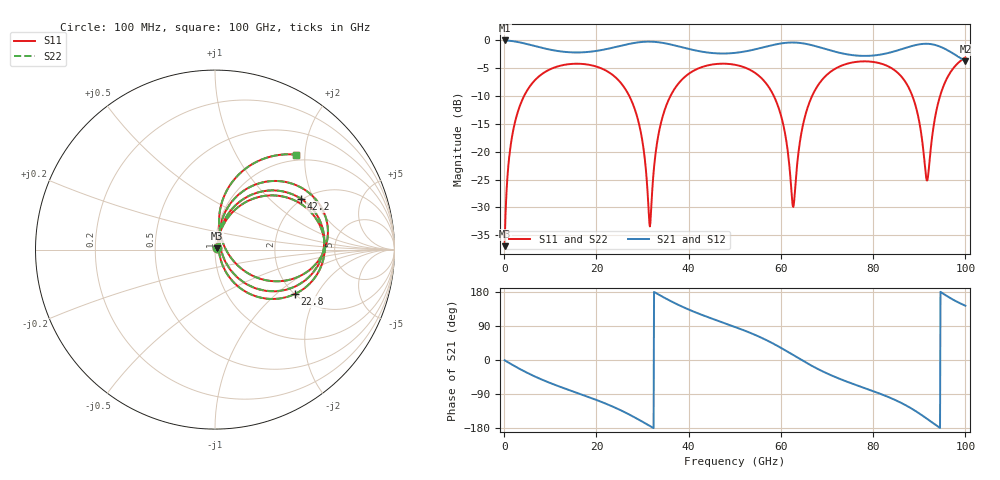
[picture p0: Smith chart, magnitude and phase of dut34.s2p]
! Touchstone file exported from HFSS 2026.1.0
!  File:  C:/ffzhzh/LocalFiles/Ansys_Project_Files/temp_train_TSV_RDL_34_1783617735_26216.aedt
!  Generated:  01:29:08 AM Jul 10, 2026
!  Design:  TSV_RDL
!  Project:  temp_train_TSV_RDL_34_1783617735_26216
! Variables:
!  h_bsmrdl = 2.39um
!  h_ox = 20um
!  h_rdl = 5um
!  h_sub = 63.22um
!  h_tmrdl = 4.59um
!  h_tsv = 63.22um
!  h_via = 3um
!  l_bsmrdl = 110.55um
!  l_sub = 1889.11um
!  l_tmrdl = 267.9um
!  m_sub = 200um
!  pitch = 49.33um
!  r_tsv = 6.41um
!  s_tmrdl = 10um
!  w_bsmrdl = 15.81um
!  w_sub = 500um
!  w_tmrdl = 12.81um
!  x_tsv_center1 = 274.305um
!  x_tsv_center2 = 400.665um
!  x_tsv_center3 = 681.375um
!  x_tsv_center4 = 807.735um
!  x_tsv_center5 = 1088.445um
!  x_tsv_center6 = 1214.805um
# GHz S MA R 50.000000
! Terminal data exported
! Port[1] = TM_RDL1_1_T1
! Port[2] = TM_RDL5_1_T1
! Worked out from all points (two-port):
!   1000 points, 100 MHz to 100 GHz, reference 50 ohm
!   highest |S21| = -0.10 dB at 100 MHz (marker M1); lowest = -3.8 dB at 100 GHz (marker M2)
!   |S21| within 3 dB of the highest: start of sweep to 98.64 GHz
!   lowest |S11| = -36.9 dB at 100 MHz (marker M3), VSWR 1.03, Z = 51.2 + j0.842 ohm
!   |S11| at or under -10 dB: 27.1 GHz to 36.09 GHz (8.981 GHz wide, 28.4 % of centre); 58.44 GHz to 66.79 GHz (8.348 GHz wide, 13.3 % of centre); 88.49 GHz to 94.52 GHz (6.036 GHz wide, 6.6 % of centre) (the widest 3 of 4)
!   |S22| runs from -36.9 to -3.1 dB; largest |S21 - S12| = 2.7e-14
!   S11 on the Smith chart (normalised r, x): 100 MHz: 1.02, +0.02; 22.8 GHz: 2.01, -1.34; 42.2 GHz: 1.97, +1.62; 100 GHz: 0.89, +1.83
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0.1  0.01424 35.3  0.9884 -0.7  0.9884 -0.7  0.01424 35.3
! Gamma 0 0 0 0
! Port Impedance 50 0 50 0
1.5  0.1203 72.6  0.9789 -10.7  0.9789 -10.7  0.1203 72.6
4.2  0.3072 57.9  0.9341 -28.8  0.9341 -28.8  0.3072 57.9
16.8  0.6099 -2.1  0.7731 -91.1  0.7731 -91.1  0.6099 -2.2
22.8  0.5099 -29.0  0.8379 -119.1  0.8379 -119.1  0.5099 -29.0
28.7  0.2144 -59.9  0.9459 -154.1  0.9459 -154.1  0.2144 -60.0
31.5  0.02245 -12.4  0.9646 -173.4  0.9646 -173.4  0.02199 -12.9
33.4  0.1381 73.6  0.9532 173.4  0.9532 173.4  0.1379 73.8
36.6  0.3456 58.5  0.8999 152.5  0.8999 152.5  0.3455 58.6
42.2  0.5575 30.4  0.7934 122.2  0.7934 122.2  0.5574 30.5
50.1  0.5982 -3.1  0.7656 87.0  0.7656 87.0  0.5981 -3.0
58.7  0.3002 -44.7  0.9079 40.9  0.9079 40.9  0.3001 -44.4
60.8  0.1529 -52.7  0.9387 26.6  0.9387 26.6  0.153 -52.2
62.6  0.03235 2.7  0.9474 13.6  0.9474 13.6  0.0336 3.4
64.6  0.1592 77.1  0.9337 -0.8  0.9337 -0.8  0.1596 76.6
66.7  0.3103 68.7  0.897 -15.3  0.897 -15.3  0.3105 68.5
75.9  0.632 24.6  0.7273 -64.3  0.7273 -64.3  0.6321 24.6
83.4  0.576 -6.7  0.7657 -98.2  0.7657 -98.2  0.5761 -6.7
88.6  0.3073 -32.4  0.8859 -130.1  0.8859 -130.1  0.3074 -32.4
91.7  0.05508 25.5  0.9231 -155.3  0.9231 -155.3  0.055 25.5
94.8  0.3435 78.3  0.8603 178.2  0.8603 178.2  0.3435 78.3
100  0.6968 49.4  0.6453 143.2  0.6453 143.2  0.6968 49.4
